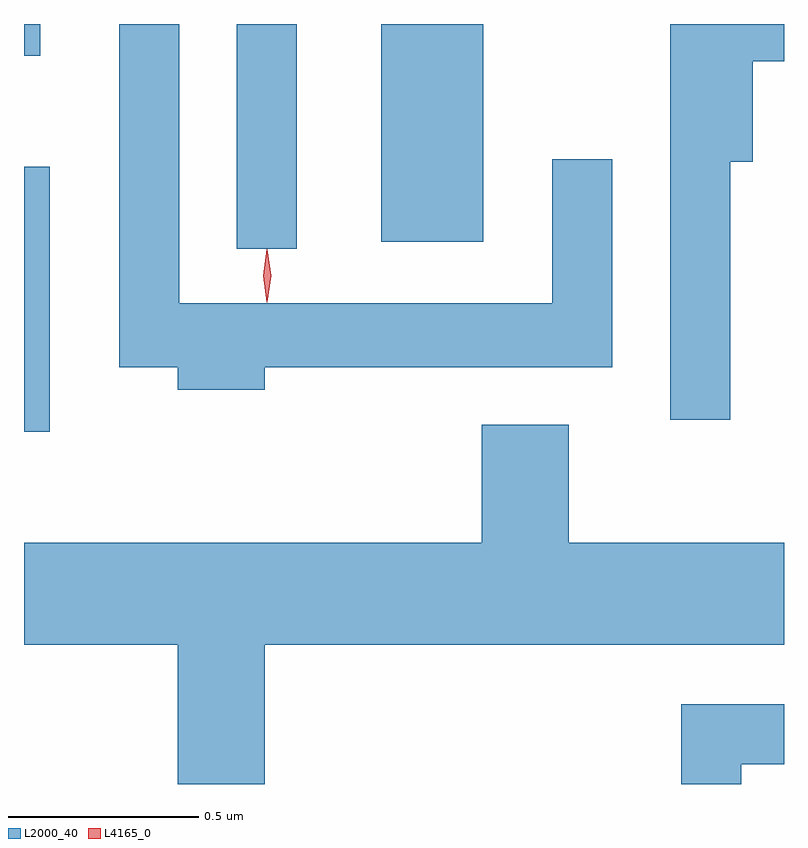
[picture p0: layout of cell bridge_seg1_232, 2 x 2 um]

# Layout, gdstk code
import gdstk
lib = gdstk.Library(unit=1e-6, precision=1e-09)
def R(c, l, rs):  # rectangles x0, y0, x1, y1
    for r in rs: c.add(gdstk.rectangle(r[:2], r[2:], *l))
def P(c, l, *ps):  # polygons
    for p in ps: c.add(gdstk.Polygon(p, *l))
L2000_40 = (2000, 40)
L4165_0 = (4165, 0)

bridge_seg1_232 = lib.new_cell('bridge_seg1_232')
R(bridge_seg1_232, L2000_40, [(836.286,886.816,836.354,887.514), (836.846,887.298,837.004,887.889), (837.226,887.316,837.494,887.889), (836.286,887.806,836.329,887.889)])
P(bridge_seg1_232, L2000_40, [(836.919,886.986),(837.834,886.986),(837.834,887.533),(837.676,887.533),(837.676,887.154),(836.694,887.154),(836.694,887.889),(836.536,887.889),(836.536,886.986),(836.691,886.986),(836.691,886.926),(836.919,886.926)],
  [(838.144,887.526),(838.204,887.526),(838.204,887.791),(838.286,887.791),(838.286,887.889),(837.986,887.889),(837.986,886.848),(838.144,886.848)],
  [(836.919,886.256),(838.286,886.256),(838.286,886.524),(837.719,886.524),(837.719,886.834),(837.491,886.834),(837.491,886.524),(836.286,886.524),(836.286,886.256),(836.691,886.256),(836.691,885.889),(836.919,885.889)],
  [(838.174,885.941),(838.286,885.941),(838.286,886.099),(838.016,886.099),(838.016,885.889),(838.174,885.889)])
P(bridge_seg1_232, L4165_0, [(836.925,887.157),(836.916,887.227),(836.925,887.296),(836.926,887.296),(836.926,887.296),(836.936,887.227),(836.926,887.157),(836.926,887.157)])

lib.write_gds('bridge_seg1_232.gds')
